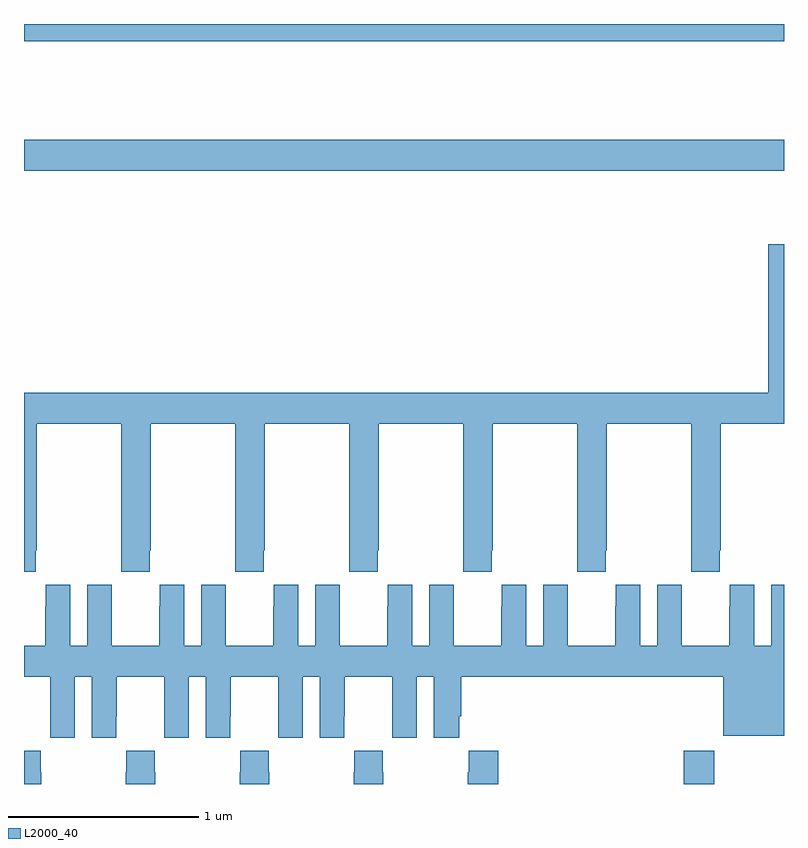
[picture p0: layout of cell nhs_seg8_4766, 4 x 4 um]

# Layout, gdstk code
import gdstk
lib = gdstk.Library(unit=1e-6, precision=1e-09)
def R(c, l, rs):  # rectangles x0, y0, x1, y1
    for r in rs: c.add(gdstk.rectangle(r[:2], r[2:], *l))
def P(c, l, *ps):  # polygons
    for p in ps: c.add(gdstk.Polygon(p, *l))
L2000_40 = (2000, 40)

nhs_seg8_4766 = lib.new_cell('nhs_seg8_4766')
R(nhs_seg8_4766, L2000_40, [(402.473,1151.9,402.633,1152.076), (399,1155.128,403,1155.292), (399,1155.808,403,1155.9)])
P(nhs_seg8_4766, L2000_40, [(399.063,1153.129),(399.066,1153.129),(399.066,1153.796),(399.511,1153.796),(399.511,1153.129),(399.513,1153.129),(399.513,1153.017),(399.663,1153.017),(399.663,1153.129),(399.666,1153.129),(399.666,1153.796),(400.111,1153.796),(400.111,1153.129),(400.113,1153.129),(400.113,1153.017),(400.263,1153.017),(400.263,1153.129),(400.266,1153.129),(400.266,1153.796),(400.711,1153.796),(400.711,1153.129),(400.713,1153.129),(400.713,1153.017),(400.863,1153.017),(400.863,1153.129),(400.866,1153.129),(400.866,1153.796),(401.311,1153.796),(401.311,1153.129),(401.313,1153.129),(401.313,1153.017),(401.463,1153.017),(401.463,1153.129),(401.466,1153.129),(401.466,1153.796),(401.911,1153.796),(401.911,1153.129),(401.913,1153.129),(401.913,1153.017),(402.063,1153.017),(402.063,1153.129),(402.066,1153.129),(402.066,1153.796),(402.511,1153.796),(402.511,1153.129),(402.513,1153.129),(402.513,1153.017),(402.663,1153.017),(402.663,1153.129),(402.666,1153.129),(402.666,1153.796),(403,1153.796),(403,1154.74),(402.917,1154.74),(402.917,1153.96),(399,1153.96),(399,1153.017),(399.063,1153.017)],
  [(399.268,1152.464),(399.356,1152.464),(399.356,1152.144),(399.486,1152.144),(399.486,1152.256),(399.487,1152.256),(399.487,1152.464),(399.737,1152.464),(399.737,1152.256),(399.738,1152.256),(399.738,1152.144),(399.868,1152.144),(399.868,1152.464),(399.956,1152.464),(399.956,1152.144),(400.086,1152.144),(400.086,1152.256),(400.087,1152.256),(400.087,1152.464),(400.337,1152.464),(400.337,1152.256),(400.338,1152.256),(400.338,1152.144),(400.468,1152.144),(400.468,1152.464),(400.556,1152.464),(400.556,1152.144),(400.686,1152.144),(400.686,1152.256),(400.687,1152.256),(400.687,1152.464),(400.937,1152.464),(400.937,1152.256),(400.938,1152.256),(400.938,1152.144),(401.068,1152.144),(401.068,1152.464),(401.156,1152.464),(401.156,1152.144),(401.29,1152.144),(401.29,1152.256),(401.3,1152.256),(401.3,1152.464),(402.68,1152.464),(402.68,1152.155),(403,1152.155),(403,1152.949),(402.932,1152.949),(402.932,1152.628),(402.844,1152.628),(402.844,1152.949),(402.714,1152.949),(402.714,1152.836),(402.713,1152.836),(402.713,1152.628),(402.463,1152.628),(402.463,1152.836),(402.462,1152.836),(402.462,1152.949),(402.332,1152.949),(402.332,1152.628),(402.244,1152.628),(402.244,1152.949),(402.114,1152.949),(402.114,1152.836),(402.113,1152.836),(402.113,1152.628),(401.863,1152.628),(401.863,1152.836),(401.862,1152.836),(401.862,1152.949),(401.732,1152.949),(401.732,1152.628),(401.644,1152.628),(401.644,1152.949),(401.514,1152.949),(401.514,1152.836),(401.513,1152.836),(401.513,1152.628),(401.263,1152.628),(401.263,1152.836),(401.262,1152.836),(401.262,1152.949),(401.132,1152.949),(401.132,1152.628),(401.044,1152.628),(401.044,1152.949),(400.914,1152.949),(400.914,1152.836),(400.913,1152.836),(400.913,1152.628),(400.663,1152.628),(400.663,1152.836),(400.662,1152.836),(400.662,1152.949),(400.532,1152.949),(400.532,1152.628),(400.444,1152.628),(400.444,1152.949),(400.314,1152.949),(400.314,1152.836),(400.313,1152.836),(400.313,1152.628),(400.063,1152.628),(400.063,1152.836),(400.062,1152.836),(400.062,1152.949),(399.932,1152.949),(399.932,1152.628),(399.844,1152.628),(399.844,1152.949),(399.714,1152.949),(399.714,1152.836),(399.713,1152.836),(399.713,1152.628),(399.463,1152.628),(399.463,1152.836),(399.462,1152.836),(399.462,1152.949),(399.332,1152.949),(399.332,1152.628),(399.244,1152.628),(399.244,1152.949),(399.114,1152.949),(399.114,1152.836),(399.113,1152.836),(399.113,1152.628),(399,1152.628),(399,1152.464),(399.137,1152.464),(399.137,1152.256),(399.138,1152.256),(399.138,1152.144),(399.268,1152.144)],
  [(399.69,1151.963),(399.687,1151.963),(399.687,1152.076),(399.537,1152.076),(399.537,1151.963),(399.535,1151.963),(399.535,1151.9),(399.69,1151.9)],
  [(400.29,1151.963),(400.287,1151.963),(400.287,1152.076),(400.137,1152.076),(400.137,1151.963),(400.135,1151.963),(400.135,1151.9),(400.29,1151.9)],
  [(400.89,1151.963),(400.887,1151.963),(400.887,1152.076),(400.737,1152.076),(400.737,1151.963),(400.735,1151.963),(400.735,1151.9),(400.89,1151.9)],
  [(401.495,1152.076),(401.341,1152.076),(401.341,1151.963),(401.335,1151.963),(401.335,1151.9),(401.495,1151.9)],
  [(399.09,1151.963),(399.087,1151.963),(399.087,1152.076),(399,1152.076),(399,1151.9),(399.09,1151.9)])

lib.write_gds('nhs_seg8_4766.gds')
